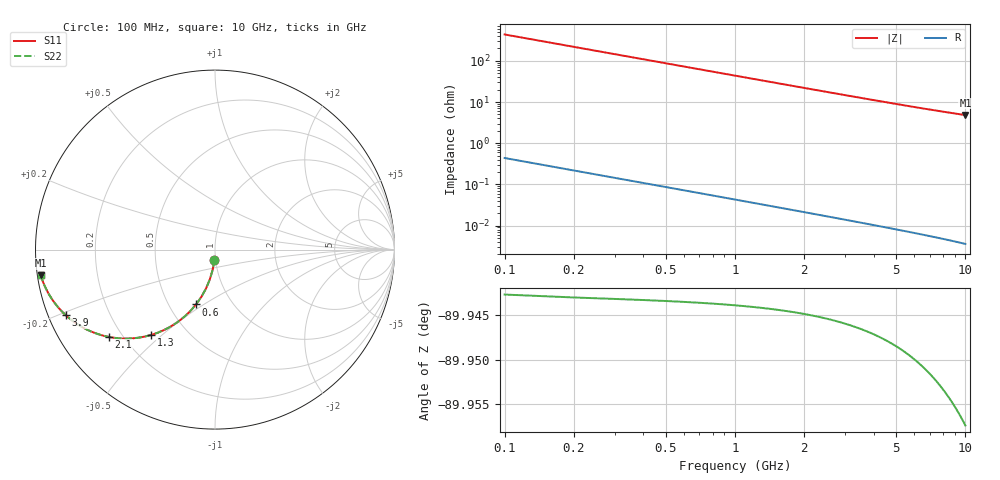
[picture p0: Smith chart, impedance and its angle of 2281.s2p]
# Hz S RI R 50.00
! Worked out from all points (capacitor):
!   100 points, 100 MHz to 10 GHz, reference 50 ohm
!   read as one part in shunt: C = 3.64 pF near 100 MHz
!   lowest |Z| = 4.83 ohm at 10 GHz (marker M1)
!   S11 on the Smith chart (normalised r, x): 100 MHz: 0.99, -0.11; 600 MHz: 0.68, -0.46; 1.3 GHz: 0.31, -0.46; 2.1 GHz: 0.15, -0.35; 3.9 GHz: 0.05, -0.21; 10 GHz: 0.01, -0.07
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1e8  -0.00328 -0.0568  0.9966 -0.0572  0.9966 -0.0572  -0.00328 -0.0568
2e8  -0.013 -0.1125  0.9869 -0.1133  0.9869 -0.1133  -0.013 -0.1125
3e8  -0.0287 -0.166  0.9712 -0.1673  0.9712 -0.1673  -0.0287 -0.166
4e8  -0.0499 -0.2165  0.95 -0.2181  0.95 -0.2181  -0.0499 -0.2165
5e8  -0.0758 -0.2632  0.9241 -0.2653  0.9241 -0.2653  -0.0758 -0.2632
6e8  -0.1055 -0.3055  0.8944 -0.3081  0.8944 -0.3081  -0.1055 -0.3055
7e8  -0.1383 -0.3433  0.8616 -0.3462  0.8616 -0.3462  -0.1383 -0.3433
9e8  -0.2096 -0.4046  0.7904 -0.4084  0.7904 -0.4084  -0.2096 -0.4046
1.1e9  -0.2835 -0.4479  0.7164 -0.4525  0.7164 -0.4525  -0.2835 -0.4479
1.3e9  -0.3558 -0.4756  0.6441 -0.481  0.6441 -0.481  -0.3558 -0.4756
1.5e9  -0.4237 -0.4905  0.5762 -0.4968  0.5762 -0.4968  -0.4237 -0.4905
1.8e9  -0.514 -0.4955  0.4859 -0.5031  0.4859 -0.5031  -0.514 -0.4955
2.1e9  -0.59 -0.4869  0.4099 -0.4958  0.4099 -0.4958  -0.59 -0.4869
2.4e9  -0.6526 -0.4705  0.3472 -0.4807  0.3472 -0.4807  -0.6526 -0.4705
2.7e9  -0.7039 -0.4503  0.2959 -0.4617  0.2959 -0.4617  -0.7039 -0.4503
3.4e9  -0.7904 -0.3992  0.2095 -0.4137  0.2095 -0.4137  -0.7904 -0.3992
3.9e9  -0.8323 -0.3646  0.1675 -0.3814  0.1675 -0.3814  -0.8323 -0.3646
4.5e9  -0.8687 -0.3273  0.131 -0.3468  0.131 -0.3468  -0.8687 -0.3273
5.1e9  -0.8949 -0.2949  0.1048 -0.3171  0.1048 -0.3171  -0.8949 -0.2949
6.7e9  -0.9367 -0.2277  0.0628 -0.2574  0.0628 -0.2574  -0.9367 -0.2277
8.4e9  -0.9592 -0.1774  0.04 -0.2154  0.04 -0.2154  -0.9592 -0.1774
1e10  -0.9711 -0.1422  0.0277 -0.1882  0.0277 -0.1882  -0.9711 -0.1422
